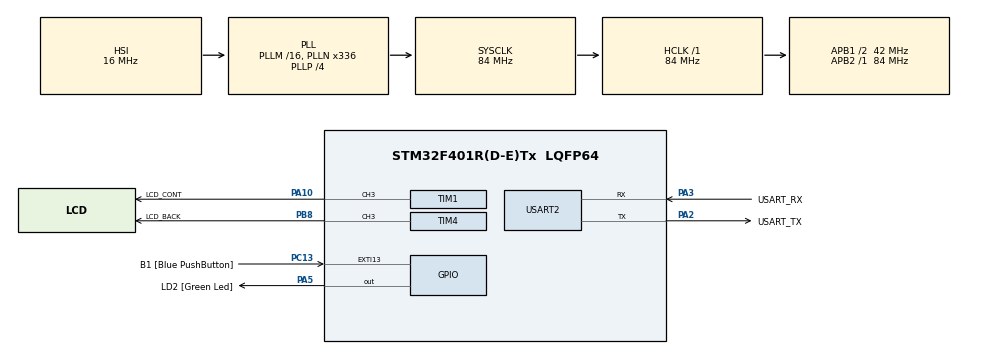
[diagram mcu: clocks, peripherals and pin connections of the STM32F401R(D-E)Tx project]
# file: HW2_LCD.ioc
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Mcu.Family=STM32F4
Mcu.Name=STM32F401R(D-E)Tx
Mcu.Package=LQFP64
NVIC.PriorityGroup=NVIC_PRIORITYGROUP_0
PA10.GPIO_Label=LCD_CONT
PA10.GPIO_Speed=GPIO_SPEED_FREQ_LOW
PA10.Signal=S_TIM1_CH3
PA13.GPIO_Label=TMS
PA13.Mode=Serial_Wire
PA13.Signal=SYS_JTMS-SWDIO
PA14.GPIO_Label=TCK
PA14.Mode=Serial_Wire
PA14.Signal=SYS_JTCK-SWCLK
PA2.GPIO_Label=USART_TX
PA2.GPIO_Mode=GPIO_MODE_AF_PP
PA2.GPIO_PuPd=GPIO_NOPULL
PA2.GPIO_Speed=GPIO_SPEED_FREQ_LOW
PA2.Mode=Asynchronous
PA2.Signal=USART2_TX
PA3.GPIO_Label=USART_RX
PA3.GPIO_Mode=GPIO_MODE_AF_PP
PA3.GPIO_PuPd=GPIO_NOPULL
PA3.GPIO_Speed=GPIO_SPEED_FREQ_LOW
PA3.Mode=Asynchronous
PA3.Signal=USART2_RX
PA5.GPIO_Label=LD2 [Green Led]
PA5.GPIO_Mode=GPIO_MODE_OUTPUT_PP
PA5.GPIO_PuPd=GPIO_NOPULL
PA5.GPIO_Speed=GPIO_SPEED_FREQ_LOW
PA5.Signal=GPIO_Output
PB3.GPIO_Label=SWO
PB3.Signal=SYS_JTDO-SWO
PB8.GPIO_Label=LCD_BACK
PB8.GPIO_Speed=GPIO_SPEED_FREQ_LOW
PB8.Signal=S_TIM4_CH3
PC13-ANTI_TAMP.GPIO_Label=B1 [Blue PushButton]
PC13-ANTI_TAMP.GPIO_ModeDefaultEXTI=GPIO_MODE_IT_FALLING
PC13-ANTI_TAMP.GPIO_PuPd=GPIO_NOPULL
PC13-ANTI_TAMP.Signal=GPXTI13
PC14-OSC32_IN.Mode=LSE-External-Oscillator
PC14-OSC32_IN.Signal=RCC_OSC32_IN
PC15-OSC32_OUT.Mode=LSE-External-Oscillator
PC15-OSC32_OUT.Signal=RCC_OSC32_OUT
PH0\ -\ OSC_IN.Mode=HSE-External-Clock-Source
PH0\ -\ OSC_IN.Signal=RCC_OSC_IN
PH1\ -\ OSC_OUT.Mode=HSE-External-Clock-Source
PH1\ -\ OSC_OUT.Signal=RCC_OSC_OUT
ProjectManager.HeapSize=0x200
ProjectManager.StackSize=0x400
ProjectManager.TargetToolchain=MDK-ARM V5
RCC.48MHZClocksFreq_Value=48000000
RCC.AHBFreq_Value=84000000
RCC.APB1CLKDivider=RCC_HCLK_DIV2
RCC.APB1Freq_Value=42000000
RCC.APB1TimFreq_Value=84000000
RCC.APB2Freq_Value=84000000
RCC.APB2TimFreq_Value=84000000
RCC.CortexFreq_Value=84000000
RCC.HCLKFreq_Value=84000000
RCC.HSE_VALUE=8000000
RCC.HSI_VALUE=16000000
RCC.PLLN=336
RCC.PLLP=RCC_PLLP_DIV4
RCC.PLLQ=7
RCC.SYSCLKFreq_VALUE=84000000
RCC.SYSCLKSource=RCC_SYSCLKSOURCE_PLLCLK
RCC.VCOOutputFreq_Value=336000000
SH.S_TIM1_CH3.0=TIM1_CH3,PWM Generation3 CH3
SH.S_TIM4_CH3.0=TIM4_CH3,PWM Generation3 CH3
TIM1.Channel-PWM\ Generation3\ CH3=TIM_CHANNEL_3
TIM1.Period=100
TIM1.Pulse-PWM\ Generation3\ CH3=50
TIM4.Channel-PWM\ Generation3\ CH3=TIM_CHANNEL_3
TIM4.Period=100
TIM4.Pulse-PWM\ Generation3\ CH3=50
USART2.VirtualMode=VM_ASYNC
board=NUCLEO-F401RE

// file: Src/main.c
/**
  ******************************************************************************
  * @file           : main.c
  * @brief          : Main program body
  ******************************************************************************
  ** This notice applies to any and all portions of this file
  * that are not between comment pairs USER CODE BEGIN and
  * USER CODE END. Other portions of this file, whether
  * inserted by the user or by software development tools
  * are owned by their respective copyright owners.
  *
  * COPYRIGHT(c) 2019 STMicroelectronics
  *
  * Redistribution and use in source and binary forms, with or without modification,
  * are permitted provided that the following conditions are met:
  *   1. Redistributions of source code must retain the above copyright notice,
  *      this list of conditions and the following disclaimer.
  *   2. Redistributions in binary form must reproduce the above copyright notice,
  *      this list of conditions and the following disclaimer in the documentation
  *      and/or other materials provided with the distribution.
  *   3. Neither the name of STMicroelectronics nor the names of its contributors
  *      may be used to endorse or promote products derived from this software
  *      without specific prior written permission.
  *
  * THIS SOFTWARE IS PROVIDED BY THE COPYRIGHT HOLDERS AND CONTRIBUTORS "AS IS"
  * AND ANY EXPRESS OR IMPLIED WARRANTIES, INCLUDING, BUT NOT LIMITED TO, THE
  * IMPLIED WARRANTIES OF MERCHANTABILITY AND FITNESS FOR A PARTICULAR PURPOSE ARE
  * DISCLAIMED. IN NO EVENT SHALL THE COPYRIGHT HOLDER OR CONTRIBUTORS BE LIABLE
  * FOR ANY DIRECT, INDIRECT, INCIDENTAL, SPECIAL, EXEMPLARY, OR CONSEQUENTIAL
  * DAMAGES (INCLUDING, BUT NOT LIMITED TO, PROCUREMENT OF SUBSTITUTE GOODS OR
  * SERVICES; LOSS OF USE, DATA, OR PROFITS; OR BUSINESS INTERRUPTION) HOWEVER
  * CAUSED AND ON ANY THEORY OF LIABILITY, WHETHER IN CONTRACT, STRICT LIABILITY,
  * OR TORT (INCLUDING NEGLIGENCE OR OTHERWISE) ARISING IN ANY WAY OUT OF THE USE
  * OF THIS SOFTWARE, EVEN IF ADVISED OF THE POSSIBILITY OF SUCH DAMAGE.
  *
  ******************************************************************************
  */
#include "main.h"
#include "stm32f4xx_hal.h"
#include "tim.h"
#include "usart.h"
#include "gpio.h"

/* USER CODE BEGIN Includes */
#include "lm016.h"
/* USER CODE END Includes */

/* USER CODE BEGIN PV */
/* Private variables ---------------------------------------------------------*/
lcd_t lcd_0;

char tmp_str_1[16];
char tmp_str_2[16];
/* USER CODE END PV */

void SystemClock_Config(void);

/* USER CODE BEGIN PFP */
/* Private function prototypes -----------------------------------------------*/

/* USER CODE END PFP */

int main(void)
{

  /* MCU Configuration----------------------------------------------------------*/

  /* Reset of all peripherals, Initializes the Flash interface and the Systick. */
  HAL_Init();

  /* Configure the system clock */
  SystemClock_Config();

  /* Initialize all configured peripherals */
  MX_GPIO_Init();
  MX_USART2_UART_Init();
  MX_TIM1_Init();
  MX_TIM4_Init();
  /* USER CODE BEGIN 2 */
	HAL_TIM_PWM_Start(&htim1, TIM_CHANNEL_3);	// LCD CONTRAST
	HAL_TIM_PWM_Start(&htim4, TIM_CHANNEL_3); // LCD BACKLIGHT

	__HAL_TIM_SetCompare(&htim1, TIM_CHANNEL_3, 10); // 0 => High Cont.  100 => Low Cont.
	__HAL_TIM_SetCompare(&htim4, TIM_CHANNEL_3, 60);

	/* <= LCD Initialization BEGIN => */

	// Data Ports
	lcd_0.data_ports[0] = GPIOB;
	lcd_0.data_ports[1] = GPIOA;
	lcd_0.data_ports[2] = GPIOA;
	lcd_0.data_ports[3] = GPIOC;
	lcd_0.data_ports[4] = GPIOB;
	lcd_0.data_ports[5] = GPIOA;
	lcd_0.data_ports[6] = GPIOA;
	lcd_0.data_ports[7] = GPIOA;
	// Data Pins
	lcd_0.data_pins[0]  = GPIO_PIN_10;
	lcd_0.data_pins[1]  = GPIO_PIN_8;
	lcd_0.data_pins[2]  = GPIO_PIN_9;
	lcd_0.data_pins[3]  = GPIO_PIN_7;
	lcd_0.data_pins[4]  = GPIO_PIN_6;
	lcd_0.data_pins[5]  = GPIO_PIN_7;
	lcd_0.data_pins[6]  = GPIO_PIN_6;
	lcd_0.data_pins[7]  = GPIO_PIN_5;

	// Control Ports
	lcd_0.rs_port				= GPIOB;
	lcd_0.en_port 			= GPIOB;

	// Control Pins
	lcd_0.rs_pin				= GPIO_PIN_3;
	lcd_0.en_pin 				= GPIO_PIN_4;

	// Mode
	lcd_0.mode					= _4_BIT;

	lcd_init(&lcd_0);
	/* <= LCD Initialization END => */

  /* USER CODE END 2 */

  /* Infinite loop */
  /* USER CODE BEGIN WHILE */
	HAL_Delay(1000);
	lcd_clear(&lcd_0);

	lcd_putchar(&lcd_0, 'H');
	lcd_set_curser(&lcd_0, 2, 5);
	lcd_puts(&lcd_0, "PARHAM");
	HAL_Delay(2000);

	lcd_clear(&lcd_0);
	lcd_puts(&lcd_0, "PARHAM123456789012345678901234567890");
	HAL_Delay(3000);

  while (1)
  {
		lcd_clear(&lcd_0);
		send_cmd(&lcd_0, 0x0C);
		uint8_t tmp_max = 100;
		for(uint8_t i=0; i<=tmp_max; i++)
		{
			sprintf(tmp_str_1,"====> %3d  <====",i);
			lcd_set_curser(&lcd_0, 1, 1);
			lcd_puts(&lcd_0, tmp_str_1);

			uint8_t tmp_factor = (uint8_t) tmp_max/16;
			if( (i%tmp_factor == 0) && (i != 0) )
			{
				lcd_set_curser(&lcd_0, 2, (uint8_t)i/tmp_factor);
				lcd_putchar(&lcd_0, 0xFC);
			}

			HAL_Delay(300);
		}
  /* USER CODE END WHILE */

  }

}

void SystemClock_Config(void)
{

  RCC_OscInitTypeDef RCC_OscInitStruct;
  RCC_ClkInitTypeDef RCC_ClkInitStruct;

    /**Configure the main internal regulator output voltage
    */
  __HAL_RCC_PWR_CLK_ENABLE();

  __HAL_PWR_VOLTAGESCALING_CONFIG(PWR_REGULATOR_VOLTAGE_SCALE2);

    /**Initializes the CPU, AHB and APB busses clocks
    */
  RCC_OscInitStruct.OscillatorType = RCC_OSCILLATORTYPE_HSI;
  RCC_OscInitStruct.HSIState = RCC_HSI_ON;
  RCC_OscInitStruct.HSICalibrationValue = 16;
  RCC_OscInitStruct.PLL.PLLState = RCC_PLL_ON;
  RCC_OscInitStruct.PLL.PLLSource = RCC_PLLSOURCE_HSI;
  RCC_OscInitStruct.PLL.PLLM = 16;
  RCC_OscInitStruct.PLL.PLLN = 336;
  RCC_OscInitStruct.PLL.PLLP = RCC_PLLP_DIV4;
  RCC_OscInitStruct.PLL.PLLQ = 7;
  if (HAL_RCC_OscConfig(&RCC_OscInitStruct) != HAL_OK)
  {
    _Error_Handler(__FILE__, __LINE__);
  }

    /**Initializes the CPU, AHB and APB busses clocks
    */
  RCC_ClkInitStruct.ClockType = RCC_CLOCKTYPE_HCLK|RCC_CLOCKTYPE_SYSCLK
                              |RCC_CLOCKTYPE_PCLK1|RCC_CLOCKTYPE_PCLK2;
  RCC_ClkInitStruct.SYSCLKSource = RCC_SYSCLKSOURCE_PLLCLK;
  RCC_ClkInitStruct.AHBCLKDivider = RCC_SYSCLK_DIV1;
  RCC_ClkInitStruct.APB1CLKDivider = RCC_HCLK_DIV2;
  RCC_ClkInitStruct.APB2CLKDivider = RCC_HCLK_DIV1;

  if (HAL_RCC_ClockConfig(&RCC_ClkInitStruct, FLASH_LATENCY_2) != HAL_OK)
  {
    _Error_Handler(__FILE__, __LINE__);
  }

    /**Configure the Systick interrupt time
    */
  HAL_SYSTICK_Config(HAL_RCC_GetHCLKFreq()/1000);

    /**Configure the Systick
    */
  HAL_SYSTICK_CLKSourceConfig(SYSTICK_CLKSOURCE_HCLK);

  /* SysTick_IRQn interrupt configuration */
  HAL_NVIC_SetPriority(SysTick_IRQn, 0, 0);
}

void _Error_Handler(char *file, int line)
{
  while(1)
  {
  }
}

/************************ (C) COPYRIGHT STMicroelectronics *****END OF FILE****/
